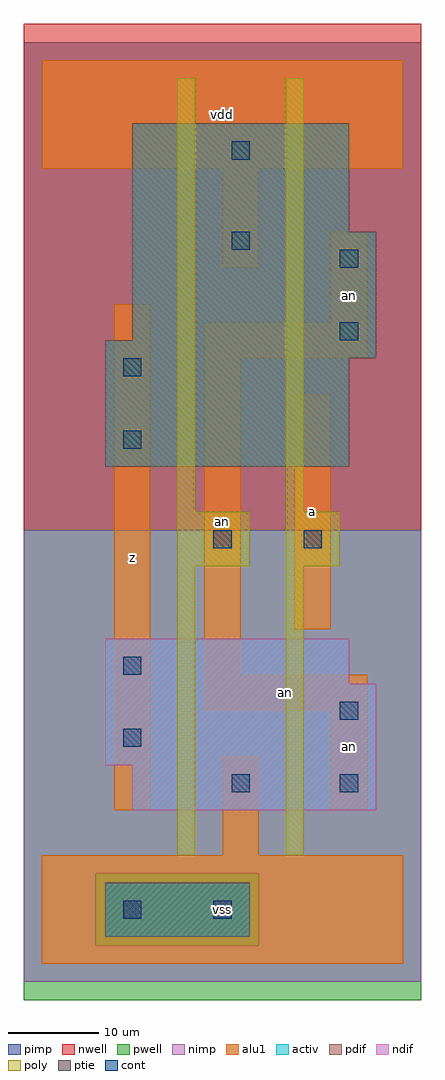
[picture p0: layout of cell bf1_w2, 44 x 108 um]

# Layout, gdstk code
import gdstk
lib = gdstk.Library(unit=1e-6, precision=1e-09)
def R(c, l, rs):  # rectangles x0, y0, x1, y1
    for r in rs: c.add(gdstk.rectangle(r[:2], r[2:], *l))
ndif = (3, 0)
pdif = (4, 0)
ptie = (6, 0)
cont = (25, 0)
pwell = (41, 0)
nwell = (42, 0)
activ = (43, 0)
pimp = (44, 0)
nimp = (45, 0)
poly = (46, 0)
alu1 = (49, 0)

bf1_w2 = lib.new_cell('bf1_w2')
R(bf1_w2, ndif, [(10,17,37,22), (7,22,37,31), (7,31,34,36)])
R(bf1_w2, pdif, [(7,55,34,67), (7,67,37,69), (10,69,37,81), (10,81,34,93)])
R(bf1_w2, ptie, [(7,3,23,9)])
R(bf1_w2, cont, [(9,5,11,7), (19,5,21,7), (21,19,23,21), (33,19,35,21), (9,24,11,26), (33,27,35,29), (9,32,11,34), (19,46,21,48), (29,46,31,48), (9,57,11,59), (9,65,11,67), (33,69,35,71), (33,77,35,79), (21,79,23,81), (21,89,23,91)])
R(bf1_w2, pwell, [(-2,-4,42,48)])
R(bf1_w2, nwell, [(-2,48,42,104)])
R(bf1_w2, activ, [(7,3,23,9), (10,17,37,22), (7,22,37,31), (7,31,34,36), (7,55,34,67), (7,67,37,69), (10,69,37,81), (10,81,34,93)])
R(bf1_w2, pimp, [(6,2,24,10), (-2,48,42,102)])
R(bf1_w2, nimp, [(-2,-2,42,2), (-2,2,6,10), (24,2,42,10), (-2,10,42,48)])
R(bf1_w2, poly, [(15,12,17,44), (27,12,29,44), (15,44,23,50), (27,44,33,50), (15,50,17,98), (27,50,29,98)])
R(bf1_w2, alu1, [(0,0,40,12), (20,12,24,23), (8,17,12,73), (32,17,36,28), (18,28,36,32), (18,32,22,67), (28,37,32,63), (18,67,36,71), (32,71,36,81), (20,77,24,88), (0,88,40,100)])
bf1_w2.add(gdstk.Label('z', (10,45), layer=49, texttype=0))
bf1_w2.add(gdstk.Label('vss', (20,6), layer=49, texttype=0))
bf1_w2.add(gdstk.Label('an', (20,49), layer=49, texttype=0))
bf1_w2.add(gdstk.Label('vdd', (20,94), layer=49, texttype=0))
bf1_w2.add(gdstk.Label('an', (34,24), layer=49, texttype=0))
bf1_w2.add(gdstk.Label('an', (27,30), layer=49, texttype=0))
bf1_w2.add(gdstk.Label('a', (30,50), layer=49, texttype=0))
bf1_w2.add(gdstk.Label('an', (34,74), layer=49, texttype=0))

lib.write_gds('bf1_w2.gds')
